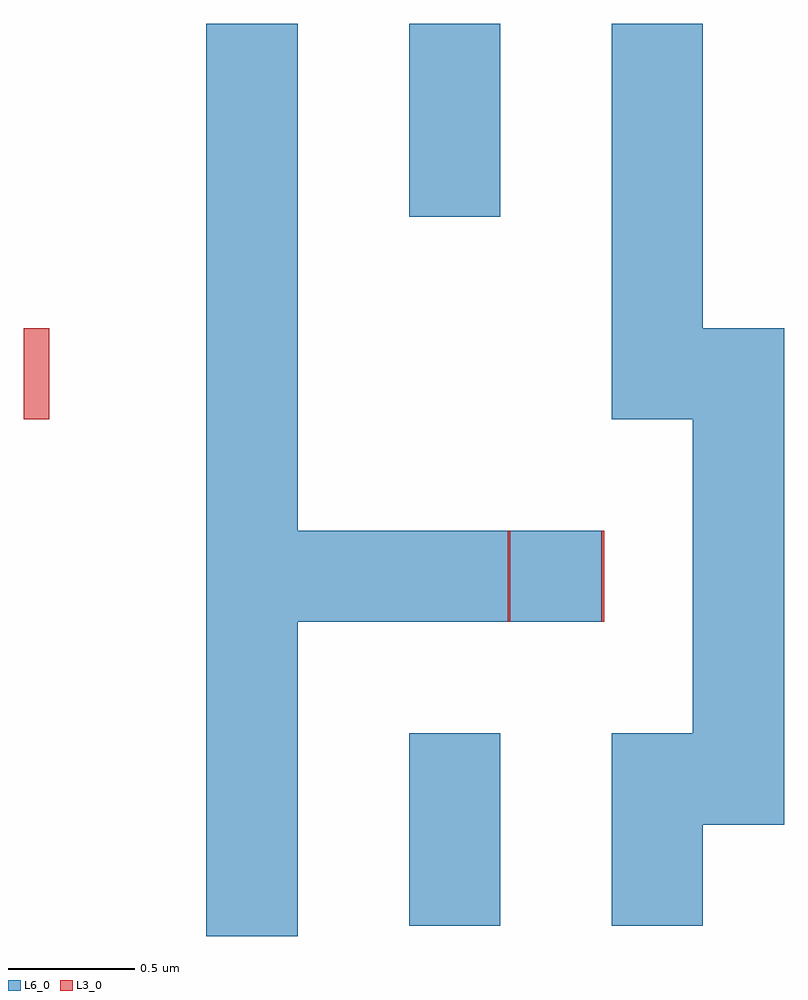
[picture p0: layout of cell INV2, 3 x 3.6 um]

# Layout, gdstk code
import gdstk
lib = gdstk.Library(unit=1e-6, precision=1e-09)
def R(c, l, rs):  # rectangles x0, y0, x1, y1
    for r in rs: c.add(gdstk.rectangle(r[:2], r[2:], *l))
def A(c, l, x, y, w, h, nx, ny, dx, dy):  # array of equal rectangles
    R(c, l, [(x+i*dx, y+j*dy, x+i*dx+w, y+j*dy+h) for i in range(nx) for j in range(ny)])
def P(c, l, *ps):  # polygons
    for p in ps: c.add(gdstk.Polygon(p, *l))
L3_0 = (3, 0)
L6_0 = (6, 0)

inv2 = lib.new_cell('INV2')
R(inv2, L3_0, [(0.21,0.82,0.22,1.18), (0.58,0.82,0.59,1.18), (-1.7,1.62,-1.6,1.98)])
A(inv2, L6_0, -0.98, -0.38, 0.36, 0.76, 3, 2, 0.8, 2.8)
R(inv2, L6_0, [(-0.98,-0.42,-0.62,2.42), (-0.8,0.82,0.58,1.18)])
P(inv2, L6_0, [(0.8,0.02),(0.8,0.38),(0.94,0.38),(0.94,1.62),(0.62,1.62),(0.62,2.42),(0.98,2.42),(0.98,1.98),(1.3,1.98),(1.3,0.02)])

lib.write_gds('INV2.gds')
